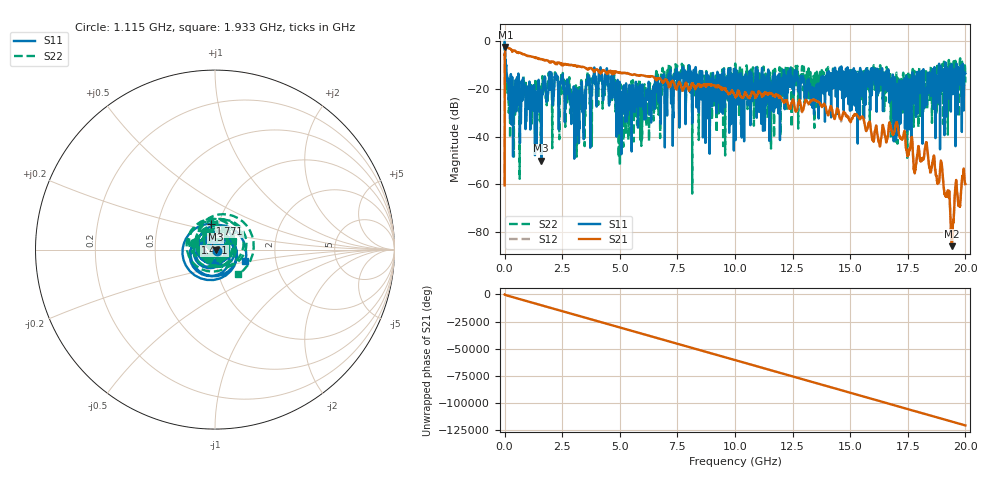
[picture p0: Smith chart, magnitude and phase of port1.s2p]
! MS46122B
! 2250307/22442219
! 2/19/2026 8:48:19 AM
! C:\USERS\SPARKY\DOCUMENTS\VNA_DATA\FEB19_2026\WARM2\PORT1.S2P
! CHANNEL.1
! TR.MEASUREMENT
! RAW.DATA
# GHZ S RI R 50.0
! FREQ.GHZ  S11RE  S11IM  S21RE  S21IM  S12RE  S12IM  S22RE  S22IM
!; PortSelection: Port_12
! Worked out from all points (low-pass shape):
!   10001 points, 1 MHz to 20 GHz, reference 50 ohm
!   highest |S21| = -2.33 dB at 33 MHz (marker M1); lowest = -85.9 dB at 19.41 GHz (marker M2)
!   |S21| within 3 dB of the highest: 19.1 MHz to 785.6 MHz (766.5 MHz wide, 191 % of centre); 796.3 MHz to 828.8 MHz (32.55 MHz wide, 4.01 % of centre) (the widest 2 of 3)
!   lowest |S11| = -50.0 dB at 1.593 GHz (marker M3), VSWR 1.01, Z = 50.3 - j0.117 ohm
!   |S11| at or under -10 dB: 73.61 MHz to 18.85 GHz (18.77 GHz wide, 198 % of centre); 19.15 GHz to 19.4 GHz (252.2 MHz wide, 1.31 % of centre); 19.62 GHz to 19.87 GHz (252.8 MHz wide, 1.28 % of centre) (the widest 3 of 7)
!   |S22| runs from -63.8 to -0.2 dB; largest |S21 - S12| = 0.063
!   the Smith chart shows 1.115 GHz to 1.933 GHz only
!   S11 on the Smith chart (normalised r, x): 1.115 GHz: 1.02, -0.02; 1.491 GHz: 0.80, +0.06; 1.771 GHz: 0.91, +0.27; 1.933 GHz: 1.39, -0.19
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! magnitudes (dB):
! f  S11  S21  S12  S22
! 1 MHz  0.4  -60.4  -60.4  -0.2
! 33 MHz  -8.3  -2.3  -2.7  -11.8
! 109 MHz  -15.3  -2.5  -2.6  -14.8
! 431 MHz  -19.5  -4.0  -4.0  -20.3
! 1.115 GHz  -37.0  -6.2  -6.2  -18.2
! 1.491 GHz  -18.8  -7.4  -7.3  -18.3
! 1.593 GHz  -50.0  -7.4  -7.5  -24.1
! 1.771 GHz  -16.7  -7.9  -7.8  -18.4
! 1.933 GHz  -14.8  -8.5  -8.5  -14.5
! 3.335 GHz  -18.8  -10.7  -10.8  -17.0
! 4.145 GHz  -12.7  -13.0  -13.2  -13.8
! 5.181 GHz  -18.9  -13.2  -13.3  -30.7
! 6.669 GHz  -19.0  -15.5  -15.5  -22.1
! 10 GHz  -12.8  -23.1  -23.2  -10.2
! 13.33 GHz  -19.2  -24.8  -24.6  -15.7
! 16.67 GHz  -13.0  -36.3  -36.4  -13.6
! 17.08 GHz  -34.6  -36.8  -37.0  -15.8
! 17.82 GHz  -15.3  -53.8  -54.1  -17.1
! 18.29 GHz  -21.2  -42.4  -42.5  -12.1
! 18.96 GHz  -13.6  -51.0  -50.9  -16.3
! 19.41 GHz  -9.7  -85.9  -84.4  -15.0
! 20 GHz  -13.5  -59.8  -60.4  -17.2
